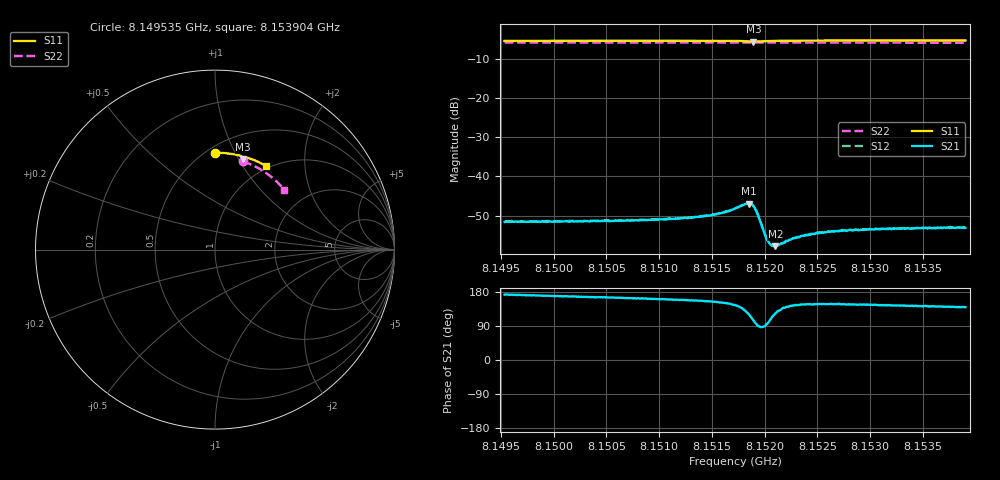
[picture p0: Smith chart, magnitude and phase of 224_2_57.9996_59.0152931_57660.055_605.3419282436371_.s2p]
#  HZ  S  RI  R  50.00
! Rohde & Schwarz Vector Network Analyzer
! Rohde-Schwarz,ZNB20-2Port,1311601062101988,3.16
! Created: UTC 3/21/2024, 1:00:17 AM
! freq[Hz]  re:S11  im:S11  re:S21  im:S21  re:S12  im:S12  re:S22  im:S22
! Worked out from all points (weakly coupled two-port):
!   401 points, 8.149535 GHz to 8.153904 GHz, reference 50 ohm
!   highest |S21| = -46.92 dB at 8.15185 GHz (marker M1); lowest = -57.8 dB at 8.152102 GHz (marker M2)
!   lowest |S11| = -5.6 dB at 8.151894 GHz (marker M3), VSWR 3.23, Z = 37.4 + j52.2 ohm
!   |S11| at or under -10 dB: nowhere
!   |S22| runs from -5.8 to -5.7 dB; largest |S21 - S12| = 0.00012
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8.1495348e9  -0.00226 0.5392  -0.00259 0.00034  -0.00265 0.00038  0.1569 0.4913
8.1502666e9  0.049 0.5383  -0.00259 0.000603  -0.0026 0.000633  0.2012 0.4741
8.1509984e9  0.1002 0.5323  -0.00267 0.000926  -0.00267 0.000975  0.2434 0.453
8.1513042e9  0.1217 0.528  -0.00273 0.00113  -0.00277 0.00119  0.2604 0.4429
8.151479e9  0.1345 0.5248  -0.00287 0.00135  -0.00289 0.00138  0.2701 0.4369
8.1516319e9  0.146 0.5209  -0.00305 0.00175  -0.00308 0.00182  0.2782 0.4315
8.1517193e9  0.153 0.5174  -0.00317 0.00227  -0.00313 0.00232  0.2828 0.4282
8.1518067e9  0.1587 0.511  -0.00293 0.00323  -0.00292 0.00331  0.2874 0.4248
8.1518504e9  0.1592 0.5066  -0.00231 0.00387  -0.00225 0.00395  0.2894 0.423
8.1518722e9  0.1581 0.5048  -0.00172 0.0041  -0.00169 0.00415  0.2904 0.4223
8.1518941e9  0.1564 0.5038  -0.00106 0.00404  -0.00101 0.00408  0.2914 0.4215
8.1519159e9  0.1548 0.5045  -0.000428 0.0037  -0.000377 0.00378  0.2927 0.4208
8.1519377e9  0.1536 0.5061  -1.35e-05 0.0032  3.06e-05 0.00322  0.2936 0.4199
8.1519924e9  0.1556 0.5109  6.12e-05 0.00199  7.35e-05 0.002  0.2965 0.4182
8.1520251e9  0.1586 0.5126  -0.000162 0.00154  -0.000126 0.00156  0.2983 0.417
8.1520579e9  0.1616 0.5135  -0.000416 0.00128  -0.000379 0.00129  0.3 0.4158
8.1521016e9  0.1657 0.5138  -0.0007 0.00108  -0.000714 0.0011  0.3022 0.4142
8.1522654e9  0.1793 0.512  -0.0013 0.000965  -0.00127 0.00097  0.3108 0.4078
8.1524511e9  0.1928 0.5079  -0.00154 0.00102  -0.00154 0.00101  0.32 0.4002
8.1527569e9  0.2136 0.5005  -0.00173 0.00111  -0.00169 0.00114  0.3347 0.3874
8.1531829e9  0.2409 0.4886  -0.00176 0.00127  -0.00173 0.00128  0.3545 0.3687
8.1539038e9  0.2855 0.4653  -0.00167 0.00144  -0.00168 0.00146  0.3853 0.3348
